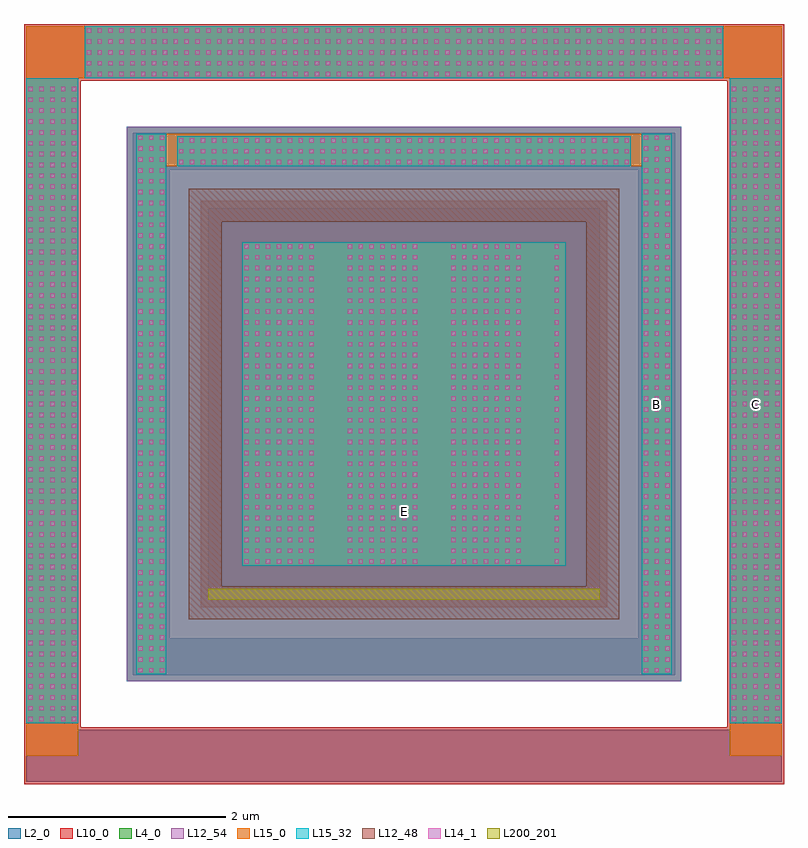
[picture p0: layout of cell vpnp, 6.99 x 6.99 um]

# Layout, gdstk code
import gdstk
lib = gdstk.Library(unit=1e-6, precision=1e-09)
def R(c, l, rs):  # rectangles x0, y0, x1, y1
    for r in rs: c.add(gdstk.rectangle(r[:2], r[2:], *l))
def A(c, l, x, y, w, h, nx, ny, dx, dy):  # array of equal rectangles
    R(c, l, [(x+i*dx, y+j*dy, x+i*dx+w, y+j*dy+h) for i in range(nx) for j in range(ny)])
L2_0 = (2, 0)
L4_0 = (4, 0)
L10_0 = (10, 0)
L12_48 = (12, 48)
L12_54 = (12, 54)
L14_1 = (14, 1)
L15_0 = (15, 0)
L15_32 = (15, 32)
L200_201 = (200, 201)

vpnp = lib.new_cell('vpnp')
R(vpnp, L2_0, [(-9.979,-2.009,-3.027,-1.529), (-9.979,-1.529,-9.499,4.463), (-3.507,-1.529,-3.027,4.463), (-8.999,-1.029,-4.007,-0.689), (-8.999,-0.689,-8.659,3.623), (-4.347,-0.689,-4.007,3.623), (-8.303,-0.333,-4.703,3.267), (-8.999,3.623,-4.007,3.963), (-9.979,4.463,-3.027,4.943)])
R(vpnp, L4_0, [(-9.055,-1.085,-3.951,4.019)])
R(vpnp, L10_0, [(-10,-2.03,-3.006,-1.508), (-10,-1.508,-9.478,4.442), (-3.528,-1.508,-3.006,4.442), (-8.373,-0.403,-4.633,3.337), (-10,4.442,-3.006,4.964)])
R(vpnp, L12_48, [(-8.484,-0.514,-4.522,-0.208), (-8.484,-0.208,-8.178,3.142), (-4.828,-0.208,-4.522,3.142), (-8.484,3.142,-4.522,3.448)])
R(vpnp, L12_54, [(-9.055,-1.085,-3.951,4.019)])
A(vpnp, L14_1, -9.959, -1.453, 0.04, 0.04, 5, 59, 0.1, 0.1)
A(vpnp, L14_1, -3.487, -1.453, 0.04, 0.04, 5, 59, 0.1, 0.1)
A(vpnp, L14_1, -8.949, -1.003, 0.04, 0.04, 3, 50, 0.1, 0.1)
A(vpnp, L14_1, -4.297, -1.003, 0.04, 0.04, 3, 50, 0.1, 0.1)
A(vpnp, L14_1, -7.973, -0.003, 0.04, 0.04, 7, 30, 0.1, 0.1)
A(vpnp, L14_1, -7.021, -0.003, 0.04, 0.04, 7, 30, 0.1, 0.1)
A(vpnp, L14_1, -6.069, -0.003, 0.04, 0.04, 7, 30, 0.1, 0.1)
A(vpnp, L14_1, -5.117, -0.003, 0.04, 0.04, 1, 30, 0, 0.1)
A(vpnp, L14_1, -8.573, 3.673, 0.04, 0.04, 42, 3, 0.1, 0.1)
A(vpnp, L14_1, -9.423, 4.483, 0.04, 0.04, 59, 5, 0.1, 0.1)
R(vpnp, L15_0, [(-9.977,-1.769,-9.501,4.941), (-3.505,-1.769,-3.029,4.941), (-8.967,-1.021,-8.691,3.955), (-4.315,-1.021,-4.039,3.955), (-7.991,-0.021,-5.015,2.955), (-8.691,3.655,-4.315,3.955), (-9.501,4.465,-3.505,4.941)])
R(vpnp, L15_32, [(-9.977,-1.471,-9.501,4.465), (-3.505,-1.471,-3.029,4.465), (-8.967,-1.021,-8.691,3.955), (-4.315,-1.021,-4.039,3.955), (-7.991,-0.021,-5.015,2.955), (-8.591,3.655,-4.415,3.931), (-9.441,4.465,-3.565,4.941)])
R(vpnp, L200_201, [(-8.303,-0.333,-4.703,-0.233)])
vpnp.add(gdstk.Label('E', (-6.503,0.479), layer=15, texttype=20))
vpnp.add(gdstk.Label('B', (-4.177,1.467), layer=15, texttype=20))
vpnp.add(gdstk.Label('C', (-3.267,1.467), layer=15, texttype=20))

lib.write_gds('vpnp.gds')
